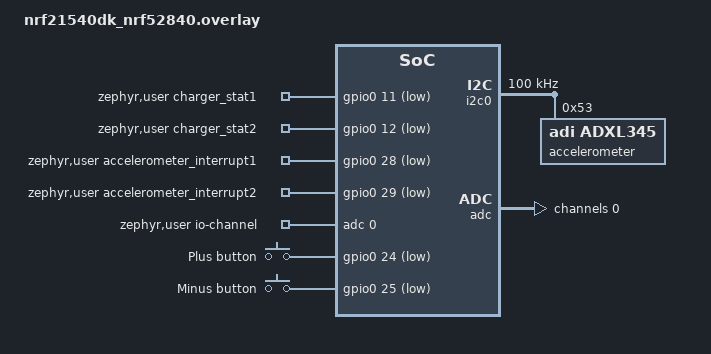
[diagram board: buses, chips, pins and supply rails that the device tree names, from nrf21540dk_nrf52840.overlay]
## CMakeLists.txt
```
# SPDX-License-Identifier: Apache-2.0

cmake_minimum_required(VERSION 3.20.0)
find_package(Zephyr REQUIRED HINTS $ENV{ZEPHYR_BASE})

project(firmware)

test_sysbuild()

include(requirements.cmake)

add_subdirectory(src)
```

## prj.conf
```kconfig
CONFIG_CPP=y
CONFIG_STD_CPP2B=y
CONFIG_STD_C23=y
CONFIG_REQUIRES_FULL_LIBCPP=y
CONFIG_CPP_EXCEPTIONS=y
CONFIG_CPP_RTTI=n



CONFIG_USE_SEGGER_RTT=y
CONFIG_LOG_BACKEND_RTT=y

CONFIG_PWM=y
CONFIG_PWM_LOG_LEVEL_ERR=y

CONFIG_LOG=y

CONFIG_I2C=y
CONFIG_SENSOR=y
CONFIG_ADXL345=y

CONFIG_FPU=y

CONFIG_FLASH=y
CONFIG_FLASH_PAGE_LAYOUT=y
CONFIG_FLASH_MAP=y
CONFIG_NVS=y
CONFIG_SETTINGS=y
CONFIG_NVS_DATA_CRC=y
CONFIG_NVS_LOG_LEVEL_DBG=y
CONFIG_MPU_ALLOW_FLASH_WRITE=y


# debug only
CONFIG_THREAD_MONITOR=y
CONFIG_THREAD_NAME=y


CONFIG_PM_DEVICE=y
CONFIG_POWEROFF=y
CONFIG_REBOOT=y


CONFIG_BT=n
CONFIG_BT_DEVICE_NAME_DYNAMIC=y
CONFIG_BT_SMP=y
CONFIG_BT_PERIPHERAL=y

CONFIG_BT_DIS=y
CONFIG_BT_DIS_PNP=n

CONFIG_BT_DEVICE_NAME="GTFOg"
CONFIG_BT_SETTINGS=y
CONFIG_BT_BAS_CLIENT=y

# This example requires more stack
CONFIG_MAIN_STACK_SIZE=2048
CONFIG_SYSTEM_WORKQUEUE_STACK_SIZE=1280

CONFIG_LOG_MODE_IMMEDIATE=y
CONFIG_LOG_FMT_SECTION=y

CONFIG_ADC=y

CONFIG_CLOCK_CONTROL_NRF_K32SRC_SYNTH=y

CONFIG_DEBUG_OPTIMIZATIONS=y
CONFIG_GPIO=y




CONFIG_USB_DEVICE_STACK=y
CONFIG_USB_DEVICE_PRODUCT="GTFOg"
CONFIG_USB_DEVICE_VID=0x1209
CONFIG_USB_DEVICE_PID=0xEACC
CONFIG_USB_DFU_CLASS=y
CONFIG_USB_DFU_ENABLE_UPLOAD=y

CONFIG_STREAM_FLASH=y
CONFIG_IMG_MANAGER=y

CONFIG_USB_DRIVER_LOG_LEVEL_ERR=y
CONFIG_USB_DEVICE_LOG_LEVEL_ERR=y
CONFIG_BOOTLOADER_MCUBOOT=y
CONFIG_USB_DEVICE_INITIALIZE_AT_BOOT=n

CONFIG_USB_DEVICE_MANUFACTURER="elmaczete_customs"
CONFIG_USB_DEVICE_DFU_PID=0xEACD
```

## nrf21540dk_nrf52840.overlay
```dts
&gpio0 {
	status = "okay";
};

&pinctrl {
	pwm0_default: pwm0_default {
		group1 {
			psels = <NRF_PSEL(PWM_OUT0, 0, 13)>,
			        <NRF_PSEL(PWM_OUT1, 0, 14)>,
			        <NRF_PSEL(PWM_OUT2, 0, 15)>,
			        <NRF_PSEL(PWM_OUT3, 0, 16)>;
		};
	};
};


/ {
	pwmleds {
		led_r: led_r {
			pwms = <&pwm0 0 PWM_MSEC(20) PWM_POLARITY_NORMAL>;
		};

		led_g: led_g {
			pwms = <&pwm0 1 PWM_MSEC(20) PWM_POLARITY_NORMAL>;
		};

		fan: fan {
			pwms = <&pwm0 3 PWM_MSEC(20) PWM_POLARITY_NORMAL>;
		};

		led_b: led_b {
			pwms = <&pwm0 2 PWM_MSEC(20) PWM_POLARITY_NORMAL>;
		};
	};

	zephyr,user {
		charger_stat1-gpios = <&gpio0 11 (GPIO_ACTIVE_LOW | GPIO_PULL_UP)>;
		charger_stat2-gpios = <&gpio0 12 (GPIO_ACTIVE_LOW | GPIO_PULL_UP)>;
		accelerometer_interrupt1-gpios = <&gpio0 28 (GPIO_ACTIVE_LOW | GPIO_PULL_UP)>;
		accelerometer_interrupt2-gpios = <&gpio0 29 (GPIO_ACTIVE_LOW | GPIO_PULL_UP)>;
		io-channels = <&adc 0>; // VDDHDIV5

	};

	aliases {
		/delete-property/ sw0;
		/delete-property/ sw1;
		/delete-property/ sw2;
		/delete-property/ sw3;
		/delete-property/ mcuboot-button0;
	};


	buttons {
		compatible = "gpio-keys";
		button_plus: button_0 {
			gpios = <&gpio0 24 (GPIO_ACTIVE_LOW | GPIO_PULL_UP)>;
			label = "Plus button";
		};
		button_minus: button_1 {
			gpios = <&gpio0 25 (GPIO_ACTIVE_LOW | GPIO_PULL_UP)>;
			label = "Minus button";
		};
		/* ... other buttons ... */
	};

};
// /delete-node/ &button0;
// /delete-node/ &button1;
// /delete-node/ &button2;
// /delete-node/ &button3;

&i2c0 {
	accelerometer: adxl345@53 {
		compatible = "adi,adxl345";
		reg = <0x53>;
		status = "okay";
	};

	clock-frequency = <I2C_BITRATE_STANDARD>;
};

&i2c0_default {

	group2 {
		psels = <NRF_PSEL(TWIM_SCL, 0, 31)>, <NRF_PSEL(TWIM_SDA, 0, 30)>;
		bias-pull-up;
	};
};
/delete-node/ &{/pin-controller/i2c0_default/group1/};

&i2c0_sleep {

	group2 {
		psels = <NRF_PSEL(TWIM_SCL, 0, 31)>, <NRF_PSEL(TWIM_SDA, 0, 27)>;
		bias-pull-up;
		low-power-enable;
	};
};
/delete-node/ &{/pin-controller/i2c0_sleep/group1/};

&gpio0 {
	wakeup-source;
};



&adc {
	status = "okay";
	#address-cells = <1>;
	#size-cells = <0>;
	channel@0 {
		reg = <0>;
		zephyr,gain = "ADC_GAIN_1_2";
		zephyr,reference = "ADC_REF_INTERNAL";
		zephyr,acquisition-time = <ADC_ACQ_TIME_DEFAULT>;
		zephyr,input-positive = <NRF_SAADC_VDDHDIV5>; /* P0.30 */
		zephyr,resolution = <12>;
	};
};
```

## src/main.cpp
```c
#include "events.hpp"
#include "system.hpp"

#include <hal/nrf_power.h>
#include <zephyr/init.h>
#include <zephyr/kernel.h>
#include <zephyr/usb/usb_device.h>

#include <tuple>


int main(void) {
    system_process_event(events::request_power_on{});

    std::ignore = usb_enable(NULL);

    while (1) {
        k_msleep(200);
        // }
    }
}

 
static int set_gpio_voltage(void) {
    if (nrf_power_mainregstatus_get(NRF_POWER) != NRF_POWER_MAINREGSTATUS_HIGH) {
        // Low power supply mode, do nothing
        return 0;
    }
    bool supply_is_3v3 = (NRF_UICR->REGOUT0 & UICR_REGOUT0_VOUT_Msk) == (UICR_REGOUT0_VOUT_3V3 << UICR_REGOUT0_VOUT_Pos);
    if (supply_is_3v3) {
        // Already set to 3.3V, do nothing
        return 0;
    }

    NRF_NVMC->CONFIG = NVMC_CONFIG_WEN_Wen << NVMC_CONFIG_WEN_Pos;
    while (NRF_NVMC->READY == NVMC_READY_READY_Busy) {
        ;
    }

    NRF_UICR->REGOUT0 = (NRF_UICR->REGOUT0 & ~((uint32_t)UICR_REGOUT0_VOUT_Msk)) | (UICR_REGOUT0_VOUT_3V3 << UICR_REGOUT0_VOUT_Pos);

    NRF_NVMC->CONFIG = NVMC_CONFIG_WEN_Ren << NVMC_CONFIG_WEN_Pos;
    while (NRF_NVMC->READY == NVMC_READY_READY_Busy) {
        ;
    }

    /* a reset is required for changes to take effect */
    NVIC_SystemReset();
}

SYS_INIT(set_gpio_voltage, PRE_KERNEL_1, CONFIG_KERNEL_INIT_PRIORITY_DEFAULT);
```

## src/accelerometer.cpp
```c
#include "compile_time_config.hpp"
#include "events.hpp"

#include <zephyr/device.h>
#include <zephyr/drivers/gpio.h>
#include <zephyr/drivers/sensor.h>
#include <zephyr/kernel.h>

static const device* accel = DEVICE_DT_GET(DT_NODELABEL(accelerometer));

static const enum sensor_channel channels[] = {
    SENSOR_CHAN_ACCEL_X,
    SENSOR_CHAN_ACCEL_Y,
    SENSOR_CHAN_ACCEL_Z,
};

static int print_accels(const struct device* dev) {
    int                 ret;
    struct sensor_value accel[3];
    for (int i = 0; i < 3; i++) {
        ret = sensor_sample_fetch(dev);
        if (ret < 0) {
            printk("%s: sensor_sample_fetch() failed: %d\n", dev->name, ret);
            return ret;
        }

        ret = sensor_channel_get(dev, channels[i], &accel[i]);
        if (ret < 0) {
            printk("%s: sensor_channel_get(%c) failed: %d\n", dev->name, 'X' + i, ret);
            return ret;
        }
    }

    printk("%16s [m/s^2]:    (%12.6f, %12.6f, %12.6f)\n", dev->name, sensor_value_to_double(&accel[0]), sensor_value_to_double(&accel[1]), sensor_value_to_double(&accel[2]));

    return 0;
}

static int set_sampling_freq(const struct device* dev) {
    int                 ret;
    struct sensor_value odr;

    ret = sensor_attr_get(dev, SENSOR_CHAN_ACCEL_XYZ, SENSOR_ATTR_SAMPLING_FREQUENCY, &odr);

    /* If we don't get a frequency > 0, we set one */
    if (ret != 0 || (odr.val1 == 0 && odr.val2 == 0)) {
        odr.val1 = 100;
        odr.val2 = 0;

        ret = sensor_attr_set(dev, SENSOR_CHAN_ACCEL_XYZ, SENSOR_ATTR_SAMPLING_FREQUENCY, &odr);

        if (ret != 0) {
            printk("%s : failed to set sampling frequency %d\n", dev->name, ret);
        }
    }

    return 0;
}

#define ZEPHYR_USER_NODE DT_PATH(zephyr_user)


static void accelerometer_thread(void*, void*, void*) {
    gpio_dt_spec const pwr = GPIO_DT_SPEC_GET(ZEPHYR_USER_NODE, accelerometer_pwr_gpios);
    gpio_pin_configure_dt(&pwr, GPIO_OUTPUT);
    gpio_pin_set_dt(&pwr, 0);
    k_sleep(K_MSEC(100));

    gpio_pin_set_dt(&pwr, 1);
    k_sleep(K_MSEC(500));

    device_init(accel);
    if (!device_is_ready(accel)) {
        printk("sensor: device %s not ready.\n", accel->name);
        return;
    }
    set_sampling_freq(accel);
    while (1) {
        print_accels(accel);
        k_sleep(K_MSEC(1000));
    }
}

K_THREAD_DEFINE(accelerometer, config::accelerometer_thread_stack_size, accelerometer_thread, nullptr, nullptr, nullptr, config::accelerometer_thread_priority, 0, 100);
```

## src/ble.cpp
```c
/*
 * Copyright (c) 2022 Nordic Semiconductor ASA
 *
 * SPDX-License-Identifier: LicenseRef-Nordic-5-Clause
 */


#include <zephyr/bluetooth/bluetooth.h>
#include <zephyr/bluetooth/conn.h>
#include <zephyr/bluetooth/gatt.h>
#include <zephyr/bluetooth/hci.h>
#include <zephyr/bluetooth/uuid.h>
#include <zephyr/kernel.h>
#include <zephyr/settings/settings.h>
#include <zephyr/sys/byteorder.h>
#include <zephyr/sys/printk.h>
#include <zephyr/types.h>
#include "runtime_config.hpp"
#include <errno.h>
#include <stddef.h>
#include <string.h>

#define APP_GLUCOSE_MIN  88
#define APP_GLUCOSE_MAX  92
#define APP_GLUCOSE_STEP 0.1f

static bool session_state;


auto xd = BT_LE_ADV_CONN;


static const struct bt_data ad[] = {
    BT_DATA_BYTES(BT_DATA_FLAGS, (BT_LE_AD_GENERAL | BT_LE_AD_NO_BREDR)),
    BT_DATA_BYTES(BT_DATA_UUID16_ALL, BT_UUID_16_ENCODE(BT_UUID_CGMS_VAL), BT_UUID_16_ENCODE(BT_UUID_DIS_VAL)),
    BT_DATA(BT_DATA_NAME_COMPLETE, CONFIG_BT_DEVICE_NAME, sizeof(CONFIG_BT_DEVICE_NAME) - 1),
};

static void connected(struct bt_conn* conn, uint8_t err) {
    char addr[BT_ADDR_LE_STR_LEN];

    bt_addr_le_to_str(bt_conn_get_dst(conn), addr, sizeof(addr));
    if (err) {
        printk("Failed to connect to %s (err 0x%02x)\n", addr, err);
    } else {
        printk("Connected %s\n", addr);
    }
}

static void disconnected(struct bt_conn* conn, uint8_t reason) {
    char addr[BT_ADDR_LE_STR_LEN];

    bt_addr_le_to_str(bt_conn_get_dst(conn), addr, sizeof(addr));
    printk("Disconnected from %s (reason %u)\n", addr, reason);
}

static void security_changed(struct bt_conn* conn, bt_security_t level, enum bt_security_err err) {
    char addr[BT_ADDR_LE_STR_LEN];

    bt_addr_le_to_str(bt_conn_get_dst(conn), addr, sizeof(addr));
    if (!err) {
        printk("Security changed: %s level %u\n", addr, level);
    } else {
        printk("Security failed: %s level %u err %d\n", addr, level, err);
    }
}

BT_CONN_CB_DEFINE(conn_callbacks) = {
    .connected        = connected,
    .disconnected     = disconnected,
    .security_changed = security_changed,
};

static void auth_cancel(struct bt_conn* conn) {
    char addr[BT_ADDR_LE_STR_LEN];

    bt_addr_le_to_str(bt_conn_get_dst(conn), addr, sizeof(addr));

    printk("Pairing cancelled: %s\n", addr);
}

static void auth_passkey_display(struct bt_conn* conn, unsigned int passkey) {
    printk("Pairing key is %06d.\n", passkey);
}

static struct bt_conn_auth_cb auth_cb_display = {
    .passkey_display = auth_passkey_display,
    .cancel          = auth_cancel,

};

static void cgms_session_state_changed(const bool state) {
    session_state = state;
    if (state) {
        printk("Session starts.\n");
    } else {
        printk("Session stops.\n");
    }
}

int mainxd(void) {
    int           err;
    const uint8_t measurement_interval = 1; /* time in minutes. */
    /* The time it will try to submit a record if last attempt fails. */
    const uint8_t retry_count = 3;
    /* The time interval between two attempts. Unit is second. */
    const uint8_t              retry_interval = 1;
    float                      glucose        = APP_GLUCOSE_MIN;



    bt_conn_auth_cb_register(&auth_cb_display);

    err = bt_enable(NULL);
    if (err) {
        printk("Bluetooth init failed (err %d)\n", err);
        return 0;
    }

    printk("Bluetooth initialized\n");

    // if (IS_ENABLED(CONFIG_SETTINGS)) {
        settings_load();
    // }

    err = bt_le_adv_start(xd, ad, ARRAY_SIZE(ad), NULL, 0);
    if (err) {
        printk("Advertising failed to start (err %d)\n", err);
        return 0;
    }

    printk("Advertising successfully started\n");
    
    /* Submit the measured glucose result in main loop. */
    while (1) {
        if (session_state) {
            /* Users can implement the routine that gets the glucose measurement.
             * Here, we use dummy glucose results, which increase from APP_GLUCOSE_MIN
             * to APP_GLUCOSE_MAX, with step of APP_GLUCOSE_STEP.
             */
            glucose += APP_GLUCOSE_STEP;
            if (glucose > APP_GLUCOSE_MAX) {
                glucose = APP_GLUCOSE_MIN;
            }
            // result.glucose = sfloat_from_float(glucose);

            /* Check return value. If it is error code, which means submission
             * to database fails, retry until it reaches limit.
             */
            for (int i = 0; i < retry_count; i++) {
                // err = bt_cgms_measurement_add(result);
                // if (err == 0) {
                //     break;
                // }
                k_sleep(K_SECONDS(retry_interval));
            }
            if (err < 0) {
                printk("Cannot submit measurement result. Record discarded.\n");
            }
        }
        /* Sleep until next sampling time arrives. */
        k_sleep(K_MINUTES(measurement_interval));
    }
}
```

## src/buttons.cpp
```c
#include "compile_time_config.hpp"
#include "system.hpp"
#include "events.hpp"
#include <zephyr/drivers/gpio.h>
#include <zephyr/kernel.h>

#include <chrono>
#include <utility>


#define ZEPHYR_USER_NODE DT_PATH(zephyr_user)

static gpio_dt_spec const button_plus  = GPIO_DT_SPEC_GET(DT_NODELABEL(button_plus), gpios);
static gpio_dt_spec const button_minus = GPIO_DT_SPEC_GET(DT_NODELABEL(button_minus), gpios);

static gpio_callback button_plus_on_change_callback;
static gpio_callback button_minus_on_change_callback;

K_SEM_DEFINE(button_changed, 0, 1);


static void on_button_change(device const* dev, gpio_callback* cb, uint32_t pins) {
    k_sem_give(&button_changed);
}


static int buttons_init(void) {
    [[unlikely]] if (!gpio_is_ready_dt(&button_plus) || !gpio_is_ready_dt(&button_minus)) { return -ENOENT; }

    int button_plus_result  = gpio_pin_configure_dt(&button_plus, GPIO_INPUT);
    int button_minus_result = gpio_pin_configure_dt(&button_minus, GPIO_INPUT);


    [[unlikely]] if ((button_plus_result < 0) || (button_minus_result < 0)) { return -EINVAL; }

    button_plus_result  = gpio_pin_interrupt_configure_dt(&button_plus, GPIO_INT_EDGE_BOTH);
    button_minus_result = gpio_pin_interrupt_configure_dt(&button_minus, GPIO_INT_EDGE_BOTH);

    [[unlikely]] if ((button_plus_result < 0) || (button_minus_result < 0)) { return -ENOTSUP; }

    gpio_init_callback(&button_plus_on_change_callback, on_button_change, BIT(button_plus.pin));
    gpio_init_callback(&button_minus_on_change_callback, on_button_change, BIT(button_minus.pin));


    gpio_add_callback(button_plus.port, &button_plus_on_change_callback);
    gpio_add_callback(button_minus.port, &button_minus_on_change_callback);
    return 0;
}


enum class button_state : unsigned {
    released      = 0b0000,
    pressed       = 0b0001,
    short_pressed = 0b0010,
    long_pressed  = 0b1001,
    stuck         = 0b1111,
};


static auto operator|=(button_state& lhs, button_state const& rhs) noexcept -> button_state& {
    lhs = static_cast<button_state>(static_cast<unsigned>(lhs) | static_cast<unsigned>(rhs));
    return lhs;
}

static auto operator&(button_state lhs, button_state rhs) noexcept -> unsigned {
    return static_cast<unsigned>(lhs) & static_cast<unsigned>(rhs);
}


namespace config {
    static_assert(buttons_long_press < buttons_stuck);
    static_assert(buttons_short_press < buttons_long_press);
    static_assert(buttons_short_press < buttons_thread_report_interval);
    static_assert(buttons_short_press >= 10ms);
} // namespace config


auto get_button_state(bool is_pressed, button_state previous, uptime_clock::time_point last_press, uptime_clock::time_point now) {
    auto press_duration = now - last_press;
    bool was_pressed    = (previous & button_state::pressed) != 0;

    if (is_pressed) {
        if (was_pressed) {
            if (press_duration >= config::buttons_stuck) {
                return button_state::stuck;
            }
            if (press_duration >= config::buttons_long_press) {
                return button_state::long_pressed;
            }
        }
        return button_state::pressed;

    } else if (was_pressed) {
        if (press_duration >= config::buttons_short_press && press_duration < config::buttons_long_press) {
            return button_state::short_pressed;
        }
    }

    return button_state::released;
}

static void buttons_thread(void*, void*, void*) {
    using namespace events;
    auto last_plus_press  = uptime_clock::time_point{};
    auto last_minus_press = uptime_clock::time_point{};

    auto plus_previous_state  = button_state::released;
    auto minus_previous_state = button_state::released;

    while (1) {
        auto now = uptime_clock::now();

        bool plus_was_pressed  = (plus_previous_state & button_state::pressed) != 0;
        bool minus_was_pressed = (minus_previous_state & button_state::pressed) != 0;

        bool plus_is_pressed  = gpio_pin_get(button_plus.port, button_plus.pin);
        bool minus_is_pressed = gpio_pin_get(button_minus.port, button_minus.pin);

        auto plus_state = get_button_state(plus_is_pressed, plus_previous_state, last_plus_press, now);
        if (!plus_was_pressed && plus_is_pressed) {
            last_plus_press = now;
        }

        auto is_reportable = [](button_state state, button_state previous) {
            bool is_press_event = (button_state::released != state) && (button_state::pressed != state);
            bool is_repeatable  = (button_state::long_pressed == state);
            bool is_repeated    = (previous == state);
            return is_press_event && (!is_repeated || is_repeatable);
        };
        bool report_plus_press = is_reportable(plus_state, plus_previous_state);
        plus_previous_state    = plus_state;


        auto minus_state = get_button_state(minus_is_pressed, minus_previous_state, last_minus_press, now);
        if (!minus_was_pressed && minus_is_pressed) {
            last_minus_press = now;
        }
        bool report_minus_press = is_reportable(minus_state, minus_previous_state);
        minus_previous_state    = minus_state;


        if (report_plus_press || report_minus_press) {
            auto state_to_kind = [](button_state state) {
                switch (state) {
                    case button_state::short_pressed: return button_press_kind::short_press;
                    case button_state::long_pressed: return button_press_kind::long_press;
                    case button_state::stuck: return button_press_kind::stuck;
                    default: std::unreachable();
                }
            };

            if (report_plus_press && report_minus_press) {
                system_process_event(both_buttons_pressed{
                    .plus  = {.kind = state_to_kind(plus_state), .press_duration = now - last_plus_press},
                    .minus = {.kind = state_to_kind(minus_state), .press_duration = now - last_minus_press},
                });
            } else if (report_plus_press) {
                system_process_event(plus_button_pressed{
                    .kind           = state_to_kind(plus_state),
                    .press_duration = now - last_plus_press,
                });
            } else {
                system_process_event(minus_button_pressed{
                    .kind           = state_to_kind(minus_state),
                    .press_duration = now - last_minus_press,
                });
            }
        }


        bool no_activity = (button_state::released == plus_state) && (button_state::released == minus_state);
        auto next_update = (no_activity) ? K_FOREVER : K_MSEC(config::buttons_thread_report_interval.count());
        k_sem_take(&button_changed, next_update);
    }
}

SYS_INIT_NAMED(buttons, buttons_init, POST_KERNEL, BUTTONS_INITIALIZATION_PRIORITY);

K_THREAD_DEFINE(buttons, config::buttons_thread_stack_size, buttons_thread, nullptr, nullptr, nullptr, config::buttons_thread_priority, 0, 0);


void enable_wake_from_buttons() {
    int button_plus_result  = gpio_remove_callback(button_plus.port, &button_plus_on_change_callback);
    int button_minus_result = gpio_remove_callback(button_minus.port, &button_minus_on_change_callback);

    if ((button_plus_result < 0) || (button_minus_result < 0)) {
        // return std::unexpected(error_code{-ENOSYS});
    }
    button_plus_result  = gpio_pin_interrupt_configure_dt(&button_plus, GPIO_INT_LEVEL_ACTIVE);
    button_minus_result = gpio_pin_interrupt_configure_dt(&button_minus, GPIO_INT_LEVEL_ACTIVE);

    if ((button_plus_result < 0) || (button_minus_result < 0)) {
        // return std::unexpected(error_code{-ENOTSUP});
    }
    // return {};
}
```

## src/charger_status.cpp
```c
#include "charger_status.hpp"

#include "compile_time_config.hpp"
#include "error_codes.hpp"
#include "system.hpp"

#include <SI/electric_potential.h>
#include <expected>
#include <zephyr/drivers/adc.h>
#include <zephyr/drivers/gpio.h>
#include <zephyr/kernel.h>

#include <tuple>
#include <utility>


/**
 * Charger status
 * The values are encoded STAT1 and STAT2 pin states
 */
enum class charger_status {
    off               = 0b00,
    recoverable_fault = 0b01,
    charging          = 0b10,
    charge_completed  = 0b11,
};


using namespace SI::literals;

#define ZEPHYR_USER_NODE DT_PATH(zephyr_user)

static gpio_dt_spec const stat1 = GPIO_DT_SPEC_GET(ZEPHYR_USER_NODE, charger_stat1_gpios);
static gpio_dt_spec const stat2 = GPIO_DT_SPEC_GET(ZEPHYR_USER_NODE, charger_stat2_gpios);


#if !DT_NODE_EXISTS(DT_PATH(zephyr_user)) || !DT_NODE_HAS_PROP(DT_PATH(zephyr_user), io_channels)
#    error "No suitable devicetree overlay specified"
#endif

#define DT_SPEC_AND_COMMA(node_id, prop, idx) ADC_DT_SPEC_GET_BY_IDX(node_id, idx),

/* Data of ADC io-channels specified in devicetree. */
static const adc_dt_spec adc_channel[] = {DT_FOREACH_PROP_ELEM(DT_PATH(zephyr_user), io_channels, DT_SPEC_AND_COMMA)};

static_assert(std::size(adc_channel) == 1, "There should be exaclty one channel to measure battery voltage");


static auto get_charger_status() noexcept -> std::expected<charger_status, error_code> {
    using enum error_code;

    auto s1 = gpio_pin_get(stat1.port, stat1.pin);
    auto s2 = gpio_pin_get(stat2.port, stat2.pin);

    [[unlikely]] if (s1 < 0) { return std::unexpected(error_code{s1}); }
    [[unlikely]] if (s2 < 0) { return std::unexpected(error_code{s2}); }

    return charger_status{(s1 << 1) | s2};
}


static int charger_status_thread(void) {
    using namespace events;
    [[unlikely]] if (!gpio_is_ready_dt(&stat1) || !gpio_is_ready_dt(&stat2)) { return -ENOENT; }
    [[unlikely]] if (!adc_is_ready_dt(adc_channel)) { return -ENOENT; }


    int stat1_result = gpio_pin_configure_dt(&stat1, GPIO_INPUT);
    int stat2_result = gpio_pin_configure_dt(&stat2, GPIO_INPUT);

    [[unlikely]] if ((stat1_result < 0) || (stat2_result < 0)) { return -EINVAL; }


    int rc = adc_channel_setup_dt(adc_channel);
    [[unlikely]] if (rc < 0) { return rc; }


    uint16_t     sample_buffer;
    adc_sequence sequence = {
        .buffer      = &sample_buffer,
        .buffer_size = sizeof(sample_buffer),
    };

    charger_status current_status = charger_status::off;
    while (1) {
        printk("- %s, channel %d: ", adc_channel->dev->name, adc_channel->channel_id);

        std::ignore = adc_sequence_init_dt(adc_channel, &sequence);

        int err = adc_read_dt(adc_channel, &sequence);
        [[unlikely]] if (err < 0) { continue; }

        int32_t val_mv = static_cast<int32_t>(sample_buffer);

        std::ignore = adc_raw_to_millivolts_dt(adc_channel, &val_mv);
        /* conversion to mV may not be supported, skip if not */
        auto v_batt = 5_mV * val_mv;

        auto status = get_charger_status().value_or(charger_status::recoverable_fault);
        if (current_status != status) {
            current_status = status;
            system_process_event(charger_status_changed{status});
        }

        printk("v_bat: %" PRId64 ", charger status: %d\n", v_batt.value(), static_cast<int>(status));

        k_sleep(K_MSEC(1000));
    }
    std::unreachable();
}

K_THREAD_DEFINE(charger_status, config::charger_status_thread_stack_size, charger_status_thread, nullptr, nullptr, nullptr, config::charger_status_thread_priority, 0, 0);
```

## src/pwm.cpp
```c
#include "fan.hpp"
#include "include/compile_time_config.hpp"
#include "indicator.hpp"
#include "strobe.hpp"

#include <fmt/compile.h>
#include <fmt/core.h>
#include <zephyr/drivers/pwm.h>
#include <zephyr/kernel.h>

#include <algorithm>
#include <chrono>
#include <stdexcept>
#include <tuple>


using namespace fmt::literals;


void Indicator::set_color(Color color) {
    static pwm_dt_spec const led_r = PWM_DT_SPEC_GET(DT_NODELABEL(led_r));
    static pwm_dt_spec const led_g = PWM_DT_SPEC_GET(DT_NODELABEL(led_g));
    static pwm_dt_spec const led_b = PWM_DT_SPEC_GET(DT_NODELABEL(led_b));


    if (!is_output_allowed()) {
        color = Colors::Black;
    }

    auto red_pulse   = color.red * led_r.period / UINT8_MAX;
    auto green_pulse = color.green * led_g.period / UINT8_MAX;
    auto blue_pulse  = color.blue * led_b.period / UINT8_MAX;

    // This is absolutely non critical code, so we can ignore the return value.
    std::ignore = pwm_set_dt(&led_r, led_r.period, red_pulse);
    std::ignore = pwm_set_dt(&led_g, led_g.period, green_pulse);
    std::ignore = pwm_set_dt(&led_b, led_b.period, blue_pulse);
}

void Indicator::allow_output(bool allowed) {
    output_allowed = allowed;
    if (!allowed) {
        off();
    }
}

Indicator& indicator_instance() noexcept {
    static Indicator indicator_instance;
    return indicator_instance;
}


void Fan::set_limits(std::uint8_t min, std::uint8_t max) {
    if ((min > max) || (0U == max)) {
        throw std::invalid_argument{"Fan limits"};
    }
    min_speed = min;
    max_speed = max;
}


void Fan::set_speed(uint8_t value) {
    static pwm_dt_spec const fan = PWM_DT_SPEC_GET(DT_NODELABEL(fan));

    if (value != 0) {
        value = std::clamp(value, std::uint8_t{min_speed}, std::uint8_t{max_speed});
    }
    auto fan_pulse = value * fan.period / UINT8_MAX;
    auto result    = pwm_set_dt(&fan, fan.period, fan_pulse);

    if (0 != result) {
        throw std::runtime_error{fmt::format("Fan PWM set: {}"_cf, result)};
    }

    speed = value;
}


Fan& fan_instance() noexcept {
    static Fan fan;
    return fan;
}


int strobe_thread(void);
K_THREAD_DEFINE(strobe, config::strobe_thread_stack_size, strobe_thread, nullptr, nullptr, nullptr, config::strobe_thread_priority, 0, 0);
static pwm_dt_spec const strobe_pwm = PWM_DT_SPEC_GET(DT_NODELABEL(strobe));


void Strobe::set_intensity(std::uint8_t value) {
    value = std::clamp(value, std::uint8_t{0}, m_max_intensity);

    auto pulse = value * strobe_pwm.period / UINT8_MAX;

    // This is non critical code, so we can ignore the return value.
    std::ignore = pwm_set_dt(&strobe_pwm, strobe_pwm.period, pulse);
}


void Strobe::on(std::uint8_t intensity, std::chrono::milliseconds period) {
    k_thread_suspend(strobe);
    if (intensity == 0) {
        off();
        return;
    }

    m_intensity    = std::clamp(intensity, std::uint8_t{0}, m_max_intensity);
    m_blink_period = period;
    m_is_running   = true;
    k_thread_resume(strobe);
}

void Strobe::off() {
    k_thread_suspend(strobe);
    set_intensity(0);
    m_is_running = false;
}

int strobe_thread(void) {
    bool  is_on{false};
    auto& inst = strobe_instance();
    while (1) {
        is_on = !is_on;
        inst.set_intensity(is_on ? inst.m_intensity : 0);
        k_msleep(inst.m_blink_period.count());
    }
}


Strobe& strobe_instance() {
    static Strobe strobe_light;
    return strobe_light;
}
```

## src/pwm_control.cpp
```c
#include "fan.hpp"
#include "status_light.hpp"
#include "strobe_light.hpp"

#include <fmt/compile.h>
#include <fmt/core.h>
#include <zephyr/drivers/pwm.h>

#include <algorithm>
#include <chrono>
#include <stdexcept>
#include <tuple>


using namespace fmt::literals;


using namespace std::chrono_literals;
using namespace std::chrono;


constexpr static nanoseconds pwm_period = 10ms;


constexpr static nanoseconds pulse_width(unsigned value, unsigned max) noexcept {
    value = std::clamp(value, 0u, max);
    // value = max - value;
    return value * pwm_period / max;
}


void StatusLight::set_color(Color color) {
    static pwm_dt_spec const led_r = PWM_DT_SPEC_GET(DT_NODELABEL(led_r));
    static pwm_dt_spec const led_g = PWM_DT_SPEC_GET(DT_NODELABEL(led_g));
    static pwm_dt_spec const led_b = PWM_DT_SPEC_GET(DT_NODELABEL(led_b));


    if (!is_output_allowed()) {
        color = Colors::Black;
    }

    auto period = pwm_period.count();

    auto red_pulse   = pulse_width(color.red, UINT8_MAX).count();
    auto green_pulse = pulse_width(color.green, UINT8_MAX).count();
    auto blue_pulse  = pulse_width(color.blue, UINT8_MAX).count();

    // This is absolutely non critical code, so we can ignore the return value.
    std::ignore = pwm_set_dt(&led_r, led_r.period, red_pulse);
    std::ignore = pwm_set_dt(&led_g, period, green_pulse);
    std::ignore = pwm_set_dt(&led_b, period, blue_pulse);
}

void StatusLight::allow_output(bool allowed) {
    output_allowed = allowed;
    if (!allowed) {
        off();
    }
}


StatusLight& status_light_instance() noexcept {
    static StatusLight status_light;
    return status_light;
}


void StrobeLight::set_intensity(std::uint8_t value) {
    static pwm_dt_spec const strobe = PWM_DT_SPEC_GET(DT_NODELABEL(strobe));

    if (!is_output_allowed()) {
        value = 0;
    }


    intensity = std::clamp(value, uint8_t{0}, uint8_t{255});
    printf("period: %d\n", strobe.period);
    auto pulse = value * strobe.period / 255;

    // This is absolutely non critical code, so we can ignore the return value.
    std::ignore = pwm_set_dt(&strobe, strobe.period, pulse);
}

void StrobeLight::allow_output(bool allowed) {
    output_allowed = allowed;
    if (!allowed) {
        off();
    }
}

StrobeLight& strobe_light_instance() noexcept {
    static StrobeLight strobe_light;
    return strobe_light;
}


void Fan::set_speed(int percentage) {
    static pwm_dt_spec const fan = PWM_DT_SPEC_GET(DT_NODELABEL(fan));

    percentage = std::clamp(percentage, 0, 100);

    auto fan_pulse = percentage * fan.period / 100;

    auto result = pwm_set_dt(&fan, fan.period, fan_pulse);

    if (0 != result) {
        throw std::runtime_error{fmt::format("Fan PWM error: {}"_cf, result)};
    }

    current_speed = percentage;
}


Fan& fan_instance() noexcept {
    static Fan fan;
    return fan;
}
```

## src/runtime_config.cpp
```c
#include "runtime_config.hpp"

#include "compile_time_config.hpp"

#include <zephyr/device.h>
#include <zephyr/drivers/flash.h>
#include <zephyr/fs/nvs.h>
#include <zephyr/init.h>
#include <zephyr/kernel.h>
#include <zephyr/settings/settings.h>
#include <zephyr/storage/flash_map.h>


struct direct_immediate_value {
    size_t size;
    void*  buffer;
    bool   fetched;
};

static int direct_loader_immediate_value(const char* name, size_t length, settings_read_cb read_cb, void* cb_arg, void* param) {
    if constexpr (!IS_ENABLED(CONFIG_SETTINGS)) {
        return -ENOTSUP;
    }
    auto        value = static_cast<direct_immediate_value*>(param);
    const char* next;
    size_t      name_len = settings_name_next(name, &next);

    if (name_len == 0) {
        if (length == value->size) {
            int rc = read_cb(cb_arg, value->buffer, length);
            if (rc >= 0) {
                value->fetched = true;
                printk("immediate load: OK.\n");
                return 0;
            }

            printk("immediate load: failed (status %d)", rc);
            return rc;
        }
        return -EINVAL;
    }

    /* other keys aren't served by the callback
     * Return success in order to skip them
     * and keep storage processing.
     */
    return 0;
}


static int settings_init() {
    if constexpr (!IS_ENABLED(CONFIG_SETTINGS)) {
        printk("settings subsys initialization: fail - not enabled");

        return static_cast<int>(error_code::feature_disabled);
    }

    int rc = settings_subsys_init();
    if (rc != 0) {
        printk("settings subsys initialization: fail (err %d)\n", rc);
        return rc;
    }

    printk("settings subsys initialization: OK.\n");
    return 0;
}

SYS_INIT_NAMED(settings_init, settings_init, APPLICATION, NVS_INITIALIZATION_PRIORITY);


auto Configuration::do_get(std::string_view key, std::span<std::byte> buffer) noexcept -> std::expected<void, error_code> {
    if constexpr (!IS_ENABLED(CONFIG_SETTINGS)) {
        return std::unexpected(error_code::feature_disabled);
    }

    direct_immediate_value descriptor{
        .size    = buffer.size_bytes(),
        .buffer  = buffer.data(),
        .fetched = false,
    };

    int load_status = settings_load_subtree_direct(key.data(), direct_loader_immediate_value, &descriptor);

    if ((0 == load_status) && !descriptor.fetched) {
        load_status = -ENOENT;
    }


    std::expected<void, error_code> result;

    if (load_status != 0) {
        result = std::unexpected(error_code{load_status});
    }
    return result;
}

auto Configuration::do_set(std::string_view key, std::span<std::byte const> data) noexcept -> std::expected<void, error_code> {
    if constexpr (!IS_ENABLED(CONFIG_SETTINGS)) {
        return std::unexpected(error_code::feature_disabled);
    }

    int write_status = settings_save_one(key.data(), data.data(), data.size_bytes());

    std::expected<void, error_code> result;

    if (write_status != 0) {
        result = std::unexpected(error_code{write_status});
    }
    return result;
#
}
```

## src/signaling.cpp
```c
#include "signaling.hpp"


static signaling_state& operator|=(signaling_state& lhs, signaling_state const& rhs) {
    lhs = static_cast<signaling_state>(static_cast<unsigned>(lhs) | static_cast<unsigned>(rhs));
    return lhs;
}

static signaling_state operator&(signaling_state const& lhs, signaling_state const& rhs) {
    return static_cast<signaling_state>(static_cast<unsigned>(lhs) & static_cast<unsigned>(rhs));
}

class signaling {
    auto current = signaling_state::off;



};
```

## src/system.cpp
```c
#include "system.hpp"

#include "events.hpp"

// #include "accelerometer.hpp"
// #include "buttons.hpp"
#include "compile_time_config.hpp"
#include "fan.hpp"

#include "indicator.hpp"
#include "strobe.hpp"

#include <boost/sml.hpp>
#include <fmt/core.h>
#include <zephyr/irq.h>
#include <zephyr/kernel.h>
#include <zephyr/sys/poweroff.h>
#include <zephyr/sys/reboot.h>

#include <algorithm>
#include <tuple>
#include <utility>


static auto& indicator = indicator_instance();
static auto& strobe    = strobe_instance();
static auto& fan       = fan_instance();


auto uptime_clock::now() noexcept -> time_point {
    return time_point{duration{k_uptime_get()}};
}


void system_power_off() noexcept {
    k_sched_lock();

    std::ignore = irq_lock();
    indicator.set_color(Colors::Cyan);
    strobe.off();
    fan.set_speed(0);

    for (volatile int i = 0; i != 10000000; ++i) {
        // do nothing
    }
    enable_wake_from_buttons();

    indicator.off();
    sys_poweroff();
}


namespace sml = boost::sml;
using namespace events;
struct my_logger {
    template<class SM, class TEvent> void log_process_event(const TEvent&) {
        printk("[%s][process_event] %s\n", sml::aux::get_type_name<SM>(), sml::aux::get_type_name<TEvent>());
    }

    template<class SM, class TGuard, class TEvent> void log_guard(const TGuard&, const TEvent&, bool result) {
        // printk("[%s][guard] %s %s %s\n", sml::aux::get_type_name<SM>(), sml::aux::get_type_name<TGuard>(), sml::aux::get_type_name<TEvent>(), (result ? "[OK]" : "[Reject]"));
    }

    template<class SM, class TAction, class TEvent> void log_action(const TAction&, const TEvent&) {
        // printk("[%s][action] %s %s\n", sml::aux::get_type_name<SM>(), sml::aux::get_type_name<TAction>(), sml::aux::get_type_name<TEvent>());
    }

    template<class SM, class TSrcState, class TDstState> void log_state_change(const TSrcState& src, const TDstState& dst) {
        // printk("[%s][transition] %s -> %s\n", sml::aux::get_type_name<SM>(), src.c_str(), dst.c_str());
    }
};


static auto hold_long_enough_for_power_off = [](both_buttons_pressed const& event) {
    bool right_press_kind     = (button_press_kind::long_press == event.plus.kind) && (button_press_kind::long_press == event.minus.kind);
    bool right_press_duration = (event.plus.press_duration >= config::both_buttons_power_off) && (event.minus.press_duration >= config::both_buttons_power_off);

    return right_press_kind && right_press_duration;
};
static auto hold_long_enough_for_toggle_strobe = [](both_buttons_pressed const& event) {
    bool right_press_kind     = (button_press_kind::long_press == event.plus.kind) && (button_press_kind::long_press == event.minus.kind);
    bool right_press_duration = (event.plus.press_duration >= config::both_buttons_toggle_strobe) && (event.minus.press_duration >= config::both_buttons_toggle_strobe);

    return right_press_kind && right_press_duration && !hold_long_enough_for_power_off(event);
};


auto        wtf                = 0;
static auto increase_fan_speed = [](plus_button_pressed const& event) {
    unsigned change_rate = (event.press_duration / config::button_change_rate_threshold) + 1;

    change_rate = std::min(change_rate, config::button_max_change_rate);
    wtf += change_rate;

    if (wtf < 100) {
        fan.set_speed(wtf);
        indicator.set_color(Colors::Green);
        k_msleep(25);
    } else {
        indicator.set_color(Colors::Magenta);
        wtf = 100;
        fan.set_speed(wtf);
        k_msleep(10);
    }

    indicator.set_color(Colors::Black);
};


static auto decrease_fan_speed = []() {
    wtf--;
    if (wtf > 0) {
        fan.set_speed(wtf);
        indicator.set_color(Colors::Yellow);
        k_msleep(25);
    } else {
        indicator.set_color(Colors::Magenta);

        wtf = 0;
        fan.set_speed(wtf);
        k_msleep(10);
    }
        indicator.set_color(Colors::Black);

};

static auto indicator_startup_sequence() {
    for (auto c : {Colors::Green, Colors::Green, Colors::Green}) {
        indicator.set_color(c);
        k_msleep(50);
        indicator.set_color(Colors::Black);
        k_msleep(50);
    }
}


static auto power_on = []() {
    indicator_startup_sequence();
    fan.set_limits(50, 255);
    fan.set_speed(0);
};


static auto toggle_strobe = []() {
    if (!strobe.is_on()) {
        strobe.on(255, 100ms);
    } else {
        strobe.off();
    }
    k_msleep(1000);
};


// static auto update_signaling_scheme = [](charger_status_changed const& event) { printk("Charger status changed\n"); };


struct system_state {
    auto operator()() const {
        using namespace sml;
        /**
         * Initial state: *initial_state
         * Transition DSL: src_state + event [ guard ] / action = dst_state
         */
        return make_transition_table(
            *"off"_s + event<request_power_on> / power_on = "on"_s,          //
            "on"_s                                        = "manual_mode"_s, //

            "manual_mode"_s + event<plus_button_pressed> / increase_fan_speed,  //
            "manual_mode"_s + event<minus_button_pressed> / decrease_fan_speed, //
                                                                                // "manual_mode"_s + event<minus_button_pressed> [hold_long_enough_for_power_off)] / do_power_off = X, //

            // state<_> + event<charger_status_changed> / update_signaling_scheme,
            state<_> + event<both_buttons_pressed>[hold_long_enough_for_toggle_strobe] / toggle_strobe,               //
            state<_> + event<both_buttons_pressed>[hold_long_enough_for_power_off] / []() { system_power_off(); } = X //
        );
    }
};

static my_logger                                     logger;
static sml::sm<system_state, sml::logger<my_logger>> sm{
    logger,
};


K_MUTEX_DEFINE(fsm_mutex);

template<typename T> void system_process_event(T event) {
    k_mutex_lock(&fsm_mutex, K_FOREVER);
    sm.process_event(event);
    k_mutex_unlock(&fsm_mutex);
}

template void system_process_event(events::request_power_on);
// template void system_process_event(events::charger_status_changed);
template void system_process_event(events::plus_button_pressed);
template void system_process_event(events::minus_button_pressed);
template void system_process_event(events::both_buttons_pressed);
```
